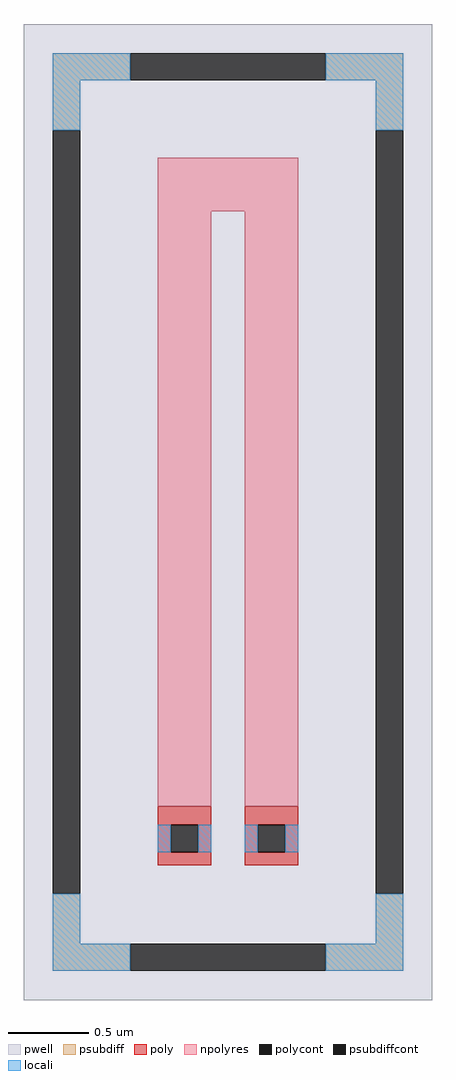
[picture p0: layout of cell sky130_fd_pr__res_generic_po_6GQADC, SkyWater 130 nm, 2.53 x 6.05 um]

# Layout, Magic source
magic
tech sky130B
magscale 1 2
<< pwell >>
rect -253 -605 253 605
<< psubdiff >>
rect -217 535 -121 569
rect 121 535 217 569
rect -217 473 -183 535
rect 183 473 217 535
rect -217 -535 -183 -473
rect 183 -535 217 -473
rect -217 -569 -121 -535
rect 121 -569 217 -535
<< psubdiffcont >>
rect -121 535 121 569
rect -217 -473 -183 473
rect 183 -473 217 473
rect -121 -569 121 -535
<< poly >>
rect -87 -388 -21 -365
rect -87 -422 -71 -388
rect -37 -422 -21 -388
rect -87 -438 -21 -422
rect 21 -388 87 -365
rect 21 -422 37 -388
rect 71 -422 87 -388
rect 21 -438 87 -422
<< polycont >>
rect -71 -422 -37 -388
rect 37 -422 71 -388
<< npolyres >>
rect -87 373 87 439
rect -87 -365 -21 373
rect 21 -365 87 373
<< locali >>
rect -217 535 -121 569
rect 121 535 217 569
rect -217 473 -183 535
rect 183 473 217 535
rect -87 -422 -71 -388
rect -37 -422 -21 -388
rect 21 -422 37 -388
rect 71 -422 87 -388
rect -217 -535 -183 -473
rect 183 -535 217 -473
rect -217 -569 -121 -535
rect 121 -569 217 -535
<< properties >>
string FIXED_BBOX -200 -552 200 552
string gencell sky130_fd_pr__res_generic_po
string library sky130
string parameters w 0.33 l 3.5 m 1 nx 2 wmin 0.330 lmin 1.650 rho 48.2 val 1.129k dummy 0 dw 0.0 term 0.0 sterm 0.0 caplen 0.4 snake 1 guard 1 glc 1 grc 1 gtc 1 gbc 1 roverlap 0 endcov 100 full_metal 1 hv_guard 0 n_guard 0 vias 1 viagb 0 viagt 0 viagl 0 viagr 0
<< end >>
